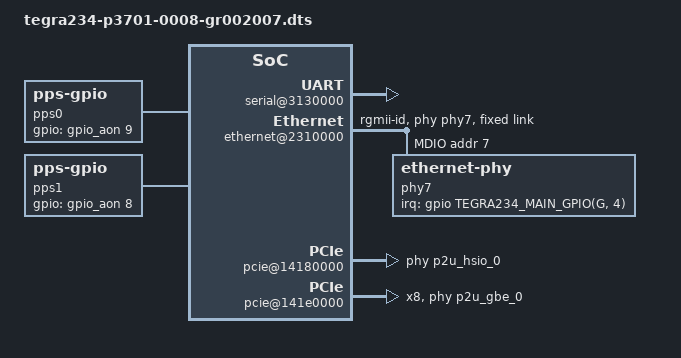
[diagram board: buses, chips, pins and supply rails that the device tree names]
/dts-v1/;
/plugin/;

#include <dt-bindings/clock/tegra234-clock.h>
#include <dt-bindings/gpio/tegra234-gpio.h>
#include <dt-bindings/interrupt-controller/arm-gic.h>
#include <dt-bindings/memory/tegra234-mc.h>
#include <dt-bindings/reset/tegra234-reset.h>

/ {
	fragment@0 {
		target-path = "/bus@0/ethernet@6800000";
		__overlay__ {
			status = "disabled";
		};
	};

	fragment@1 {
		target-path = "/bus@0/ethernet@2310000";
		__overlay__ {
			// By default, this interface is disabled
			status = "okay";

			// Pins assigned to the RGMII and MDIO interfaces are
			// already handled and don't need to be further specified.
			// However, in addition to those pins the PHY chip has a reset
			// line which the driver needs to be directed to enable. Unlike
			// the RGMII and MDIO pins, which are dictated by the hardware
			// blocks of the SOM itself, the reset pin can be any chosen GPIO
			// and is decided by the hardware routing of the custom carrier.
			nvidia,phy-reset-gpio = <&gpio TEGRA234_MAIN_GPIO(G, 5) 0>;

			// Change default mode of 10g to rgmii
			phy-mode = "rgmii-id";

			// Pointer to the device node which details the specific
			// configuration of the PHY interface
			phy-handle = <&phy7>;

			// The SOM has several EEPROM slots where it can pull a MAC address
			// from. Generally, we want to use the MAC address that was programmed
			// into the first slot at the factory by nvidia.
			nvidia,mac-addr-idx = <0x00>;

			// Specify a 1G interface
			fixed-link {
				speed = <0x3e8>;
				full-duplex;
			};


			// Detail the configuration of the interface to the
			// PHY chip.
			mdio {
				compatible = "nvidia,eqos-mdio";
				#address-cells = <0x01>;
				#size-cells = <0x00>;

				phy7: ethernet-phy@7 {
					device_type = "ethernet-phy";

					// MDIO interfaces support multiple devices. They are individually
					// selected by address and the address for each device is set by
					// strapping pins on the custom carrier board. In our case all three
					// address pins are pulled high: 111 == 0x7
					reg = <0x07>;

					// Timing characteristics of the PHY reset process
					nvidia,phy-rst-pdelay-msec = <0xe0>;
					nvidia,phy-rst-duration-usec = <0x2710>;

					// Provides the base address of the GPIO interface. GPIOs are an
					// an offset from this address. N.b., in older versions of L4T this
					// was named "tegra_main_gpio".
					interrupt-parent = <&gpio>;

					// Assign another GPIO for the PHY chip to raise interrupts on activity.
					interrupts = <TEGRA234_MAIN_GPIO(G, 4) IRQ_TYPE_LEVEL_LOW>;
					micrel,copper-mode;

					// When the driver loads this field specifies writing to a register
					// in the PHY. The datasheet doesn't specify exactly what this does
					// and it may be a fix detailed in errata (speculation is around
					// signal stability). Since it was provided by the hardware vendor
					// it should probably be left in.
					micrel,reg-init = <0x03 0x12 0x7fff 0x880>;
				};
			};
		};
	};

	fragment@2 {
		target-path = "/bus@0/pcie@14180000";
		__overlay__ {
			status = "okay";
			phys = <&p2u_hsio_0>;
			phy-names = "p2u-0";
		};
	};

	fragment@3 {
		target-path = "/bus@0/pcie@141e0000";
		__overlay__ {
			status = "okay";
			num-lanes = <8>;
			phys = <&p2u_gbe_0>, <&p2u_gbe_1>, <&p2u_gbe_2>, <&p2u_gbe_3>, 
			       <&p2u_gbe_4>, <&p2u_gbe_5>, <&p2u_gbe_6>, <&p2u_gbe_7>;
			phy-names = "p2u-0", "p2u-1", "p2u-2", "p2u-3", 
				    "p2u-4", "p2u-5", "p2u-6", "p2u-7";
		};
	};

	// Set PCIe interface to Gen2
	fragment@5 {
		target-path = "/bus@0/pcie@141a0000";
		__overlay__ {
			max-link-speed = <2>;
			nvidia,max-speed = <2>;
		};
	};

	// Enable PPS pin
	fragment@6 {
		target-path = "/";
		__overlay__ {
			pps0: pps-gpio-0 {
				status = "okay";
				compatible = "pps-gpio";
				// GPIO8:
				gpios = <&gpio_aon 9 0>;
				assert-rising-edge;
			};
		};
	};

	// Enable PPS pin
	fragment@7 {
		target-path = "/";
		__overlay__ {
			pps1: pps-gpio-1 {
				status = "okay";
				compatible = "pps-gpio";
				// GPIO9:
				gpios = <&gpio_aon 8 0>;
				assert-rising-edge;
			};
		};
	};

	// UART4 was removed from the underlying system device trees.
	// It's enabled here by reintroducing the entire node.
	// Run in PIO mode rather than using DMA.
	fragment@8 {
		target-path = "/";
		__overlay__ {
			aliases {
				serial3 = "/bus@0/serial@3130000";
			};
			bus@0 {
				serial@3130000 {
					compatible = "nvidia,tegra194-hsuart";
					reg = <0x0 0x03130000 0x0 0x10000>;
					interrupts = <GIC_SPI 115 IRQ_TYPE_LEVEL_HIGH>;
					clocks = <&bpmp TEGRA234_CLK_UARTD>;
					clock-names = "serial";
					resets = <&bpmp TEGRA234_RESET_UARTD>;
					reset-names = "serial";
					/delete-property/ dmas;
					/delete-property/ dma-names;
					/delete-property/ iommus;
					/delete-property/ dma-coherant;
					status = "okay";
				};
			};
		};
	};

	// Ensure UART2 is aliased to ttyTHS4 at runtime
	fragment@9 {
		target-path = "/";
		__overlay__ {
			aliases {
				serial4 = "/bus@0/serial@3140000";
			};
		};
	};

	// This represents a debug UART which can interfere with
	// UART5. It's disabled here so that UART5 can operate
	// as a data port.
	fragment@10 {
		target-path = "/bus@0/serial@31d0000";
		__overlay__ {
			status = "disabled";
		};
	};

    // Enable GICv2m interface so that PCIe can dispatch MSIs
    // to multiple SPIs.
	fragment@11 {
		target = <&gic>;
		__overlay__ {
			#address-cells = <2>;
			#size-cells = <2>;
			ranges;

			gic_v2m: v2m@f410000 {
				compatible = "arm,gic-v2m-frame";
				msi-controller;
				#msi-cells = <1>;
				reg = <0x0 0x0f410000 0x0 0x00010000>,
				      <0x0 0x54000000 0x0 0x04000000>;
				reg-names = "gic_base", "msi_base";
				arm,msi-base-spi = <608>;
				arm,msi-num-spis = <352>;
			};
		};
	};

	fragment@12 {
		target-path = "/bus@0/pcie@140c0000";
		__overlay__ {
			interrupt-map = <0x0 0x0 0x0 0x0 &gic 0x0 0x0 0x0 358 0x4>;
		};
	};

	fragment@13 {
		target-path = "/bus@0/pcie@14120000";
		__overlay__ {
			interrupt-map = <0x0 0x0 0x0 0x0 &gic 0x0 0x0 0x0 47 0x4>;
		};
	};

	fragment@14 {
		target-path = "/bus@0/pcie@14160000";
		__overlay__ {
			interrupt-map = <0x0 0x0 0x0 0x0 &gic 0x0 0x0 0x0 51 0x4>;
		};
	};

	fragment@15 {
		target-path = "/bus@0/pcie@141a0000";
		__overlay__ {
			interrupt-map = <0x0 0x0 0x0 0x0 &gic 0x0 0x0 0x0 53 0x4>;
		};
	};

	fragment@16 {
		target-path = "/bus@0/pcie@141e0000";
		__overlay__ {
			interrupt-map = <0x0 0x0 0x0 0x0 &gic 0x0 0x0 0x0 354 0x4>;
		};
	};

	fragment@17 {
		target-path = "/bus@0/pcie@140a0000";
		__overlay__ {
			interrupt-map = <0x0 0x0 0x0 0x0 &gic 0x0 0x0 0x0 356 0x4>;
		};
	};

	fragment@18 {
		target-path = "/bus@0/pcie@140e0000";
		__overlay__ {
			interrupt-map = <0x0 0x0 0x0 0x0 &gic 0x0 0x0 0x0 360 0x4>;
		};
	};

	fragment@19 {
		target-path = "/bus@0/pcie@14100000";
		__overlay__ {
			interrupt-map = <0x0 0x0 0x0 0x0 &gic 0x0 0x0 0x0 45 0x4>;
		};
	};

	fragment@20 {
		target-path = "/bus@0/pcie@14140000";
		__overlay__ {
			interrupt-map = <0x0 0x0 0x0 0x0 &gic 0x0 0x0 0x0 49 0x4>;
		};
	};

	fragment@21 {
		target-path = "/bus@0/pcie@14180000";
		__overlay__ {
			interrupt-map = <0x0 0x0 0x0 0x0 &gic 0x0 0x0 0x0 72 0x4>;
		};
	};

	fragment@22 {
		target-path = "/bus@0/pcie@141c0000";
		__overlay__ {
			interrupt-map = <0x0 0x0 0x0 0x0 &gic 0x0 0x0 0x0 352 0x4>;
		};
	};

	fragment@23 {
		target-path = "/bus@0/pcie@141e0000";
		__overlay__ {
			msi-parent = <&gic_v2m 0x08>;
			msi-map = <0x0 &gic_v2m 0x08 0x1000>;
		};
	};


};
